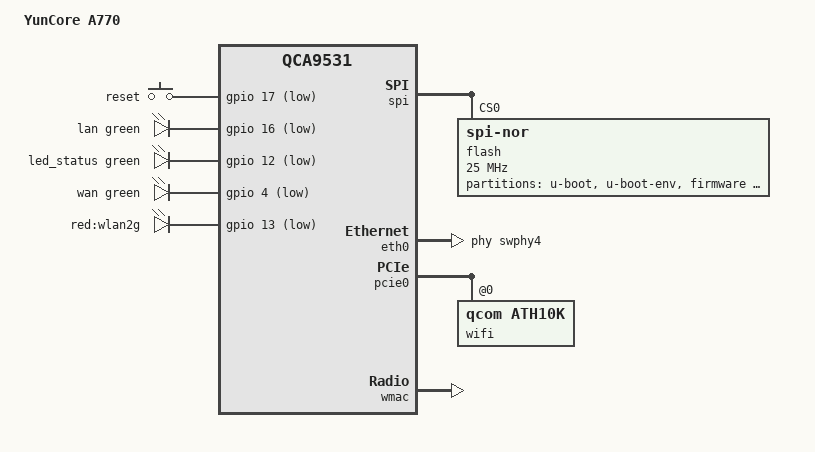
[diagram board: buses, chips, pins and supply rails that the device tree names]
// SPDX-License-Identifier: GPL-2.0-or-later OR MIT

#include "qca953x.dtsi"

#include <dt-bindings/gpio/gpio.h>
#include <dt-bindings/input/input.h>
#include <dt-bindings/leds/common.h>

/ {
	model = "YunCore A770";
	compatible = "yuncore,a770", "qca,qca9531";

	aliases {
		led-boot = &led_status;
		led-failsafe = &led_status;
		led-running = &led_status;
		led-upgrade = &led_status;
	};

	keys {
		compatible = "gpio-keys";

		reset {
			label = "reset";
			linux,code = <KEY_RESTART>;
			gpios = <&gpio 17 GPIO_ACTIVE_LOW>;
			debounce-interval = <60>;
		};
	};

	leds {
		compatible = "gpio-leds";

		lan {
			function = LED_FUNCTION_LAN;
			color = <LED_COLOR_ID_GREEN>;
			gpios = <&gpio 16 GPIO_ACTIVE_LOW>;
		};

		led_status: status {
			function = LED_FUNCTION_STATUS;
			color = <LED_COLOR_ID_GREEN>;
			gpios = <&gpio 12 GPIO_ACTIVE_LOW>;
			default-state = "keep";
		};

		wan {
			function = LED_FUNCTION_WAN;
			color = <LED_COLOR_ID_GREEN>;
			gpios = <&gpio 4 GPIO_ACTIVE_LOW>;
		};

		wlan2g {
			label = "red:wlan2g";
			gpios = <&gpio 13 GPIO_ACTIVE_LOW>;
			linux,default-trigger = "phy1tpt";
		};
	};
};

&spi {
	status = "okay";

	flash@0 {
		compatible = "jedec,spi-nor";
		reg = <0>;
		spi-max-frequency = <25000000>;

		partitions {
			compatible = "fixed-partitions";
			#address-cells = <1>;
			#size-cells = <1>;

			partition@0 {
				label = "u-boot";
				reg = <0x000000 0x040000>;
				read-only;
			};

			partition@40000 {
				label = "u-boot-env";
				reg = <0x040000 0x010000>;
			};

			partition@50000 {
				compatible = "denx,uimage";
				label = "firmware";
				reg = <0x050000 0xfa0000>;
			};

			partition@ff0000 {
				label = "art";
				reg = <0xff0000 0x010000>;
				read-only;

				nvmem-layout {
					compatible = "fixed-layout";
					#address-cells = <1>;
					#size-cells = <1>;

					macaddr_art_0: macaddr@0 {
						reg = <0x0 0x6>;
					};

					macaddr_art_6: macaddr@6 {
						reg = <0x6 0x6>;
					};

					cal_art_1000: calibration@1000 {
						reg = <0x1000 0x440>;
					};

					cal_art_5000: calibration@5000 {
						reg = <0x5000 0x844>;
					};
				};
			};
		};
	};
};

&eth0 {
	status = "okay";

	phy-handle = <&swphy4>;

	nvmem-cells = <&macaddr_art_0>;
	nvmem-cell-names = "mac-address";
};

&eth1 {
	nvmem-cells = <&macaddr_art_6>;
	nvmem-cell-names = "mac-address";
};

&pcie0 {
	status = "okay";

	wifi@0,0 {
		compatible = "qcom,ath10k";
		reg = <0x0000 0 0 0 0>;
		nvmem-cells = <&cal_art_5000>;
		nvmem-cell-names = "calibration";
	};
};

&wmac {
	status = "okay";

	nvmem-cells = <&cal_art_1000>;
	nvmem-cell-names = "calibration";
};
